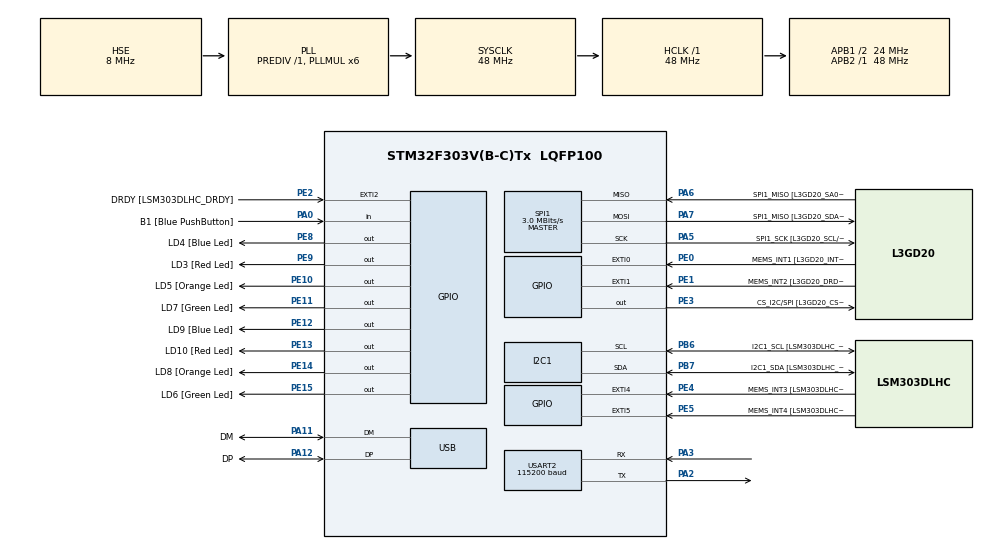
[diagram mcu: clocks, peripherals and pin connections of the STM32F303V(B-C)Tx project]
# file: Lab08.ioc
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I2C1.Timing=0x2000090E
I2C1.Timing-I2C=0x2000090E
Mcu.Family=STM32F3
Mcu.Name=STM32F303V(B-C)Tx
Mcu.Package=LQFP100
NVIC.PriorityGroup=NVIC_PRIORITYGROUP_0
NVIC.SPI1_IRQn=true\:0\:0\:false\:false\:true\:true\:true\:true
PA0.GPIO_Label=B1 [Blue PushButton]
PA0.Signal=GPIO_Input
PA11.GPIO_Label=DM
PA11.Mode=Device
PA11.Signal=USB_DM
PA12.GPIO_Label=DP
PA12.Mode=Device
PA12.Signal=USB_DP
PA13.GPIO_Label=SWDIO
PA13.Mode=Serial_Wire
PA13.Signal=SYS_JTMS-SWDIO
PA14.GPIO_Label=SWCLK
PA14.Mode=Serial_Wire
PA14.Signal=SYS_JTCK-SWCLK
PA2.Mode=Asynchronous
PA2.Signal=USART2_TX
PA3.Mode=Asynchronous
PA3.Signal=USART2_RX
PA5.GPIO_Label=SPI1_SCK [L3GD20_SCL/SPC]
PA5.Mode=Full_Duplex_Master
PA5.Signal=SPI1_SCK
PA6.GPIO_Label=SPI1_MISO [L3GD20_SA0/SDO]
PA6.Mode=Full_Duplex_Master
PA6.Signal=SPI1_MISO
PA7.GPIO_Label=SPI1_MISO [L3GD20_SDA/SDI/SDO]
PA7.Mode=Full_Duplex_Master
PA7.Signal=SPI1_MOSI
PB3.GPIO_Label=SWO
PB3.Signal=SYS_JTDO-TRACESWO
PB6.GPIO_Label=I2C1_SCL [LSM303DLHC_SCL]
PB6.GPIO_Pu=GPIO_PULLUP
PB6.Mode=I2C
PB6.Signal=I2C1_SCL
PB7.GPIO_Label=I2C1_SDA [LSM303DLHC_SDA]
PB7.GPIO_Pu=GPIO_PULLUP
PB7.Mode=I2C
PB7.Signal=I2C1_SDA
PC14-OSC32_IN.GPIO_Label=OSC32_IN
PC14-OSC32_IN.Signal=RCC_OSC32_IN
PC15-OSC32_OUT.GPIO_Label=OSC32_OUT
PC15-OSC32_OUT.Signal=RCC_OSC32_OUT
PE0.GPIO_Label=MEMS_INT1 [L3GD20_INT1]
PE0.GPIO_ModeDefaultEXTI=GPIO_MODE_EVT_RISING
PE0.Signal=GPXTI0
PE1.GPIO_Label=MEMS_INT2 [L3GD20_DRDY/INT2]
PE1.GPIO_ModeDefaultEXTI=GPIO_MODE_EVT_RISING
PE1.Signal=GPXTI1
PE10.GPIO_Label=LD5 [Orange Led]
PE10.Signal=GPIO_Output
PE11.GPIO_Label=LD7 [Green Led]
PE11.Signal=GPIO_Output
PE12.GPIO_Label=LD9 [Blue Led]
PE12.Signal=GPIO_Output
PE13.GPIO_Label=LD10 [Red Led]
PE13.Signal=GPIO_Output
PE14.GPIO_Label=LD8 [Orange Led]
PE14.Signal=GPIO_Output
PE15.GPIO_Label=LD6 [Green Led]
PE15.Signal=GPIO_Output
PE2.GPIO_Label=DRDY [LSM303DLHC_DRDY]
PE2.GPIO_ModeDefaultEXTI=GPIO_MODE_EVT_RISING
PE2.Signal=GPXTI2
PE3.GPIO_Label=CS_I2C/SPI [L3GD20_CS_I2C/SPI]
PE3.Signal=GPIO_Output
PE4.GPIO_Label=MEMS_INT3 [LSM303DLHC_INT1]
PE4.GPIO_ModeDefaultEXTI=GPIO_MODE_EVT_RISING
PE4.Signal=GPXTI4
PE5.GPIO_Label=MEMS_INT4 [LSM303DLHC_INT2]
PE5.GPIO_ModeDefaultEXTI=GPIO_MODE_EVT_RISING
PE5.Signal=GPXTI5
PE8.GPIO_Label=LD4 [Blue Led]
PE8.Signal=GPIO_Output
PE9.GPIO_Label=LD3 [Red Led]
PE9.Signal=GPIO_Output
PF0-OSC_IN.GPIO_Label=OSC_IN
PF0-OSC_IN.Mode=HSE-External-Clock-Source
PF0-OSC_IN.Signal=RCC_OSC_IN
PF1-OSC_OUT.GPIO_Label=OSC_OUT
PF1-OSC_OUT.Signal=RCC_OSC_OUT
ProjectManager.HeapSize=0x200
ProjectManager.StackSize=0x400
ProjectManager.TargetToolchain=CMake
RCC.AHBFreq_Value=48000000
RCC.APB1CLKDivider=RCC_HCLK_DIV2
RCC.APB1Freq_Value=24000000
RCC.APB1TimFreq_Value=48000000
RCC.APB2Freq_Value=48000000
RCC.APB2TimFreq_Value=48000000
RCC.CortexFreq_Value=48000000
RCC.HCLKFreq_Value=48000000
RCC.HSE_VALUE=8000000
RCC.HSI_VALUE=8000000
RCC.LSE_VALUE=32768
RCC.PLLMUL=RCC_PLL_MUL6
RCC.SYSCLKFreq_VALUE=48000000
RCC.SYSCLKSourceVirtual=RCC_SYSCLKSOURCE_PLLCLK
RCC.USBFreq_Value=48000000
SPI1.BaudRatePrescaler=SPI_BAUDRATEPRESCALER_16
SPI1.BaudRatePrescaler-Full_Duplex_Master=SPI_BAUDRATEPRESCALER_2
SPI1.CLKPhase=SPI_PHASE_2EDGE
SPI1.CLKPolarity=SPI_POLARITY_HIGH
SPI1.CalculateBaudRate=3.0 MBits/s
SPI1.CalculateBaudRate-Full_Duplex_Master=24.0 MBits/s
SPI1.DataSize=SPI_DATASIZE_8BIT
SPI1.Direction=SPI_DIRECTION_2LINES
SPI1.Mode=SPI_MODE_MASTER
SPI1.Mode-Full_Duplex_Master=SPI_MODE_MASTER
SPI1.VirtualType=VM_MASTER
USART2.BaudRate=115200
USART2.VirtualMode-Asynchronous=VM_ASYNC
board=STM32F3DISCOVERY

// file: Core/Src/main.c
/* USER CODE BEGIN Header */
/**
  ******************************************************************************
  * @file           : main.c
  * @brief          : Main program body
  ******************************************************************************
  * @attention
  *
  * Copyright (c) 2026 STMicroelectronics.
  * All rights reserved.
  *
  * This software is licensed under terms that can be found in the LICENSE file
  * in the root directory of this software component.
  * If no LICENSE file comes with this software, it is provided AS-IS.
  *
  ******************************************************************************
  */
/* USER CODE END Header */
#include "main.h"
#include "stdarg.h"
#include "stdio.h"
#include "stm32f3xx_hal.h"
#include "stm32f3xx_hal_spi.h"
#include "string.h"
#include "math.h"

I2C_HandleTypeDef hi2c1;

SPI_HandleTypeDef hspi1;

UART_HandleTypeDef huart2;

PCD_HandleTypeDef hpcd_USB_FS;

void SystemClock_Config(void);
static void MX_GPIO_Init(void);
static void MX_I2C1_Init(void);
static void MX_SPI1_Init(void);
static void MX_USB_PCD_Init(void);
static void MX_USART2_UART_Init(void);

/* USER CODE BEGIN 0 */
uint8_t tx = 0x8F;
uint8_t rx = 0x00;
void myPrintf(const char *fmt, ...);
void HAL_SPI_TxCpltCallback ( SPI_HandleTypeDef *hspi);
void HAL_SPI_RxCpltCallback ( SPI_HandleTypeDef *hspi);
/* USER CODE END 0 */

int main(void)
{

  /* MCU Configuration--------------------------------------------------------*/

  /* Reset of all peripherals, Initializes the Flash interface and the Systick. */
  HAL_Init();

  /* Configure the system clock */
  SystemClock_Config();

  /* Initialize all configured peripherals */
  MX_GPIO_Init();
  MX_I2C1_Init();
  MX_SPI1_Init();
  MX_USB_PCD_Init();
  MX_USART2_UART_Init();
  /* USER CODE BEGIN 2 */
  // HAL_GPIO_WritePin (GPIOE , GPIO_PIN_3 , GPIO_PIN_RESET );
  // /* USER CODE END 2 */
  // HAL_SPI_Transmit_IT (&hspi1 , &tx , 1 );
  //HAL_Delay(1000);
    /* USER CODE BEGIN 3 */

  /* Infinite loop */
  /* USER CODE BEGIN WHILE */
  while (1)
  {
    HAL_GPIO_WritePin (GPIOE , GPIO_PIN_3 , GPIO_PIN_RESET );
  /* USER CODE END 2 */
    HAL_SPI_Transmit_IT (&hspi1 , &tx , 1 );
    HAL_GPIO_WritePin(GPIOE, GPIO_PIN_13, GPIO_PIN_SET);
    HAL_SPI_Receive_IT (&hspi1 , &rx , 1 );
      myPrintf("WHO_AM_I: %u \r\n", rx);

    /* USER CODE END WHILE */

  }
  /* USER CODE END 3 */
}

void SystemClock_Config(void)
{
  RCC_OscInitTypeDef RCC_OscInitStruct = {0};
  RCC_ClkInitTypeDef RCC_ClkInitStruct = {0};
  RCC_PeriphCLKInitTypeDef PeriphClkInit = {0};

  /** Initializes the RCC Oscillators according to the specified parameters
  * in the RCC_OscInitTypeDef structure.
  */
  RCC_OscInitStruct.OscillatorType = RCC_OSCILLATORTYPE_HSI|RCC_OSCILLATORTYPE_HSE;
  RCC_OscInitStruct.HSEState = RCC_HSE_BYPASS;
  RCC_OscInitStruct.HSEPredivValue = RCC_HSE_PREDIV_DIV1;
  RCC_OscInitStruct.HSIState = RCC_HSI_ON;
  RCC_OscInitStruct.HSICalibrationValue = RCC_HSICALIBRATION_DEFAULT;
  RCC_OscInitStruct.PLL.PLLState = RCC_PLL_ON;
  RCC_OscInitStruct.PLL.PLLSource = RCC_PLLSOURCE_HSE;
  RCC_OscInitStruct.PLL.PLLMUL = RCC_PLL_MUL6;
  if (HAL_RCC_OscConfig(&RCC_OscInitStruct) != HAL_OK)
  {
    Error_Handler();
  }

  /** Initializes the CPU, AHB and APB buses clocks
  */
  RCC_ClkInitStruct.ClockType = RCC_CLOCKTYPE_HCLK|RCC_CLOCKTYPE_SYSCLK
                              |RCC_CLOCKTYPE_PCLK1|RCC_CLOCKTYPE_PCLK2;
  RCC_ClkInitStruct.SYSCLKSource = RCC_SYSCLKSOURCE_PLLCLK;
  RCC_ClkInitStruct.AHBCLKDivider = RCC_SYSCLK_DIV1;
  RCC_ClkInitStruct.APB1CLKDivider = RCC_HCLK_DIV2;
  RCC_ClkInitStruct.APB2CLKDivider = RCC_HCLK_DIV1;

  if (HAL_RCC_ClockConfig(&RCC_ClkInitStruct, FLASH_LATENCY_1) != HAL_OK)
  {
    Error_Handler();
  }
  PeriphClkInit.PeriphClockSelection = RCC_PERIPHCLK_USB|RCC_PERIPHCLK_USART2
                              |RCC_PERIPHCLK_I2C1;
  PeriphClkInit.Usart2ClockSelection = RCC_USART2CLKSOURCE_PCLK1;
  PeriphClkInit.I2c1ClockSelection = RCC_I2C1CLKSOURCE_HSI;
  PeriphClkInit.USBClockSelection = RCC_USBCLKSOURCE_PLL;
  if (HAL_RCCEx_PeriphCLKConfig(&PeriphClkInit) != HAL_OK)
  {
    Error_Handler();
  }
}

static void MX_I2C1_Init(void)
{

  hi2c1.Instance = I2C1;
  hi2c1.Init.Timing = 0x2000090E;
  hi2c1.Init.OwnAddress1 = 0;
  hi2c1.Init.AddressingMode = I2C_ADDRESSINGMODE_7BIT;
  hi2c1.Init.DualAddressMode = I2C_DUALADDRESS_DISABLE;
  hi2c1.Init.OwnAddress2 = 0;
  hi2c1.Init.OwnAddress2Masks = I2C_OA2_NOMASK;
  hi2c1.Init.GeneralCallMode = I2C_GENERALCALL_DISABLE;
  hi2c1.Init.NoStretchMode = I2C_NOSTRETCH_DISABLE;
  if (HAL_I2C_Init(&hi2c1) != HAL_OK)
  {
    Error_Handler();
  }

  /** Configure Analogue filter
  */
  if (HAL_I2CEx_ConfigAnalogFilter(&hi2c1, I2C_ANALOGFILTER_ENABLE) != HAL_OK)
  {
    Error_Handler();
  }

  /** Configure Digital filter
  */

  if (HAL_I2CEx_ConfigDigitalFilter(&hi2c1, 0) != HAL_OK)
  {
    Error_Handler();
  }

}

static void MX_SPI1_Init(void)
{

  /* SPI1 parameter configuration*/
  hspi1.Instance = SPI1;
  hspi1.Init.Mode = SPI_MODE_MASTER;
  hspi1.Init.Direction = SPI_DIRECTION_2LINES;
  hspi1.Init.DataSize = SPI_DATASIZE_8BIT;
  hspi1.Init.CLKPolarity = SPI_POLARITY_HIGH;
  hspi1.Init.CLKPhase = SPI_PHASE_2EDGE;
  hspi1.Init.NSS = SPI_NSS_SOFT;
  hspi1.Init.BaudRatePrescaler = SPI_BAUDRATEPRESCALER_16;
  hspi1.Init.FirstBit = SPI_FIRSTBIT_MSB;
  hspi1.Init.TIMode = SPI_TIMODE_DISABLE;
  hspi1.Init.CRCCalculation = SPI_CRCCALCULATION_DISABLE;
  hspi1.Init.CRCPolynomial = 7;
  hspi1.Init.CRCLength = SPI_CRC_LENGTH_DATASIZE;
  hspi1.Init.NSSPMode = SPI_NSS_PULSE_ENABLE;
  if (HAL_SPI_Init(&hspi1) != HAL_OK)
  {
    Error_Handler();
  }

}

static void MX_USART2_UART_Init(void)
{

  huart2.Instance = USART2;
  huart2.Init.BaudRate = 115200;
  huart2.Init.WordLength = UART_WORDLENGTH_8B;
  huart2.Init.StopBits = UART_STOPBITS_1;
  huart2.Init.Parity = UART_PARITY_NONE;
  huart2.Init.Mode = UART_MODE_TX_RX;
  huart2.Init.HwFlowCtl = UART_HWCONTROL_NONE;
  huart2.Init.OverSampling = UART_OVERSAMPLING_16;
  huart2.Init.OneBitSampling = UART_ONE_BIT_SAMPLE_DISABLE;
  huart2.AdvancedInit.AdvFeatureInit = UART_ADVFEATURE_NO_INIT;
  if (HAL_UART_Init(&huart2) != HAL_OK)
  {
    Error_Handler();
  }

}

static void MX_USB_PCD_Init(void)
{

  hpcd_USB_FS.Instance = USB;
  hpcd_USB_FS.Init.dev_endpoints = 8;
  hpcd_USB_FS.Init.speed = PCD_SPEED_FULL;
  hpcd_USB_FS.Init.phy_itface = PCD_PHY_EMBEDDED;
  hpcd_USB_FS.Init.low_power_enable = DISABLE;
  hpcd_USB_FS.Init.battery_charging_enable = DISABLE;
  if (HAL_PCD_Init(&hpcd_USB_FS) != HAL_OK)
  {
    Error_Handler();
  }

}

static void MX_GPIO_Init(void)
{
  GPIO_InitTypeDef GPIO_InitStruct = {0};

  /* GPIO Ports Clock Enable */
  __HAL_RCC_GPIOE_CLK_ENABLE();
  __HAL_RCC_GPIOC_CLK_ENABLE();
  __HAL_RCC_GPIOF_CLK_ENABLE();
  __HAL_RCC_GPIOA_CLK_ENABLE();
  __HAL_RCC_GPIOB_CLK_ENABLE();

  /*Configure GPIO pin Output Level */
  HAL_GPIO_WritePin(GPIOE, CS_I2C_SPI_Pin|LD4_Pin|LD3_Pin|LD5_Pin
                          |LD7_Pin|LD9_Pin|LD10_Pin|LD8_Pin
                          |LD6_Pin, GPIO_PIN_RESET);

  /*Configure GPIO pins : DRDY_Pin MEMS_INT3_Pin MEMS_INT4_Pin MEMS_INT1_Pin
                           MEMS_INT2_Pin */
  GPIO_InitStruct.Pin = DRDY_Pin|MEMS_INT3_Pin|MEMS_INT4_Pin|MEMS_INT1_Pin
                          |MEMS_INT2_Pin;
  GPIO_InitStruct.Mode = GPIO_MODE_EVT_RISING;
  GPIO_InitStruct.Pull = GPIO_NOPULL;
  HAL_GPIO_Init(GPIOE, &GPIO_InitStruct);

  /*Configure GPIO pins : CS_I2C_SPI_Pin LD4_Pin LD3_Pin LD5_Pin
                           LD7_Pin LD9_Pin LD10_Pin LD8_Pin
                           LD6_Pin */
  GPIO_InitStruct.Pin = CS_I2C_SPI_Pin|LD4_Pin|LD3_Pin|LD5_Pin
                          |LD7_Pin|LD9_Pin|LD10_Pin|LD8_Pin
                          |LD6_Pin;
  GPIO_InitStruct.Mode = GPIO_MODE_OUTPUT_PP;
  GPIO_InitStruct.Pull = GPIO_NOPULL;
  GPIO_InitStruct.Speed = GPIO_SPEED_FREQ_LOW;
  HAL_GPIO_Init(GPIOE, &GPIO_InitStruct);

  /*Configure GPIO pin : B1_Pin */
  GPIO_InitStruct.Pin = B1_Pin;
  GPIO_InitStruct.Mode = GPIO_MODE_INPUT;
  GPIO_InitStruct.Pull = GPIO_NOPULL;
  HAL_GPIO_Init(B1_GPIO_Port, &GPIO_InitStruct);

}

/* USER CODE BEGIN 4 */
void HAL_SPI_TxCpltCallback ( SPI_HandleTypeDef *hspi){
  HAL_GPIO_WritePin(GPIOE, GPIO_PIN_13, GPIO_PIN_SET);
  HAL_SPI_Receive_IT (&hspi1 , &rx , 1 );
}

void HAL_SPI_RxCpltCallback ( SPI_HandleTypeDef *hspi){
  HAL_GPIO_WritePin(GPIOE, GPIO_PIN_12, GPIO_PIN_SET);
  HAL_GPIO_WritePin (GPIOE , GPIO_PIN_3 , GPIO_PIN_SET );
}

void myPrintf(const char *fmt, ...)
{
  char buffer[256];
  va_list argument;
  va_start(argument, fmt);
  vsnprintf(buffer, sizeof(buffer), fmt, argument);
  HAL_UART_Transmit(&huart2, (uint8_t*)buffer, strlen(buffer), HAL_MAX_DELAY);
}
/* USER CODE END 4 */

void Error_Handler(void)
{
  __disable_irq();
  while (1)
  {
  }
}
